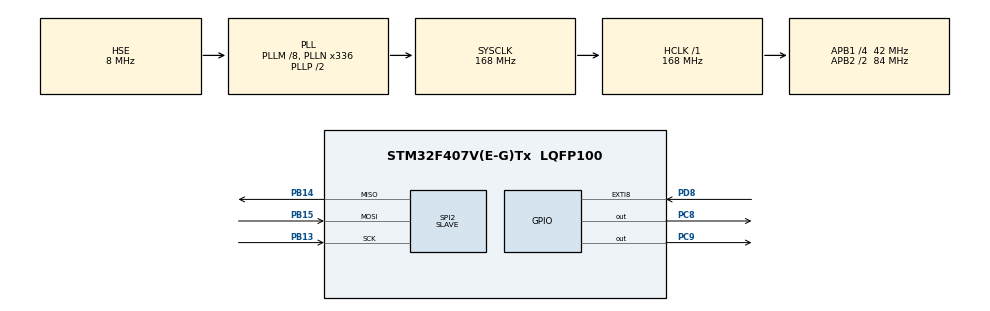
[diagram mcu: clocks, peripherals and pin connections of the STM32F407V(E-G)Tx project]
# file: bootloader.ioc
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Dma.Request0=SPI2_RX
Dma.Request1=SPI2_TX
Dma.SPI2_RX.0.Direction=DMA_PERIPH_TO_MEMORY
Dma.SPI2_RX.0.FIFOMode=DMA_FIFOMODE_DISABLE
Dma.SPI2_RX.0.Instance=DMA1_Stream3
Dma.SPI2_RX.0.MemDataAlignment=DMA_MDATAALIGN_BYTE
Dma.SPI2_RX.0.MemInc=DMA_MINC_ENABLE
Dma.SPI2_RX.0.Mode=DMA_NORMAL
Dma.SPI2_RX.0.PeriphDataAlignment=DMA_PDATAALIGN_BYTE
Dma.SPI2_RX.0.PeriphInc=DMA_PINC_DISABLE
Dma.SPI2_RX.0.Priority=DMA_PRIORITY_LOW
Dma.SPI2_TX.1.Direction=DMA_MEMORY_TO_PERIPH
Dma.SPI2_TX.1.FIFOMode=DMA_FIFOMODE_DISABLE
Dma.SPI2_TX.1.Instance=DMA1_Stream4
Dma.SPI2_TX.1.MemDataAlignment=DMA_MDATAALIGN_BYTE
Dma.SPI2_TX.1.MemInc=DMA_MINC_ENABLE
Dma.SPI2_TX.1.Mode=DMA_NORMAL
Dma.SPI2_TX.1.PeriphDataAlignment=DMA_PDATAALIGN_BYTE
Dma.SPI2_TX.1.PeriphInc=DMA_PINC_DISABLE
Dma.SPI2_TX.1.Priority=DMA_PRIORITY_LOW
Mcu.Family=STM32F4
Mcu.Name=STM32F407V(E-G)Tx
Mcu.Package=LQFP100
NVIC.DMA1_Stream3_IRQn=true\:0\:0\:false\:false\:true\:false\:true
NVIC.DMA1_Stream4_IRQn=true\:0\:0\:false\:false\:true\:false\:true
NVIC.EXTI9_5_IRQn=true\:0\:0\:false\:false\:true\:true\:true
NVIC.PriorityGroup=NVIC_PRIORITYGROUP_4
NVIC.SPI2_IRQn=true\:0\:0\:false\:false\:true\:true\:true
PA13.Mode=Serial_Wire
PA13.Signal=SYS_JTMS-SWDIO
PA14.Mode=Serial_Wire
PA14.Signal=SYS_JTCK-SWCLK
PB13.Mode=Full_Duplex_Slave
PB13.Signal=SPI2_SCK
PB14.Mode=Full_Duplex_Slave
PB14.Signal=SPI2_MISO
PB15.Mode=Full_Duplex_Slave
PB15.Signal=SPI2_MOSI
PC8.GPIO_Speed=GPIO_SPEED_FREQ_VERY_HIGH
PC8.Signal=GPIO_Output
PC9.GPIO_Speed=GPIO_SPEED_FREQ_VERY_HIGH
PC9.Signal=GPIO_Output
PD8.GPIO_ModeDefaultEXTI=GPIO_MODE_IT_RISING
PD8.GPIO_PuPd=GPIO_PULLDOWN
PD8.Signal=GPXTI8
PH0-OSC_IN.Mode=HSE-External-Oscillator
PH0-OSC_IN.Signal=RCC_OSC_IN
PH1-OSC_OUT.Mode=HSE-External-Oscillator
PH1-OSC_OUT.Signal=RCC_OSC_OUT
ProjectManager.HeapSize=0x200
ProjectManager.StackSize=0x400
ProjectManager.TargetToolchain=MDK-ARM V5.27
RCC.48MHZClocksFreq_Value=84000000
RCC.AHBFreq_Value=168000000
RCC.APB1CLKDivider=RCC_HCLK_DIV4
RCC.APB1Freq_Value=42000000
RCC.APB1TimFreq_Value=84000000
RCC.APB2CLKDivider=RCC_HCLK_DIV2
RCC.APB2Freq_Value=84000000
RCC.APB2TimFreq_Value=168000000
RCC.CortexFreq_Value=168000000
RCC.HCLKFreq_Value=168000000
RCC.HSE_VALUE=8000000
RCC.HSI_VALUE=16000000
RCC.LSE_VALUE=32768
RCC.PLLM=8
RCC.PLLN=336
RCC.PLLSourceVirtual=RCC_PLLSOURCE_HSE
RCC.SYSCLKFreq_VALUE=168000000
RCC.SYSCLKSource=RCC_SYSCLKSOURCE_PLLCLK
RCC.VCOOutputFreq_Value=336000000
SPI2.Direction=SPI_DIRECTION_2LINES
SPI2.Mode=SPI_MODE_SLAVE
SPI2.VirtualType=VM_SLAVE
board=custom

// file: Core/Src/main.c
/* USER CODE BEGIN Header */
/**
  ******************************************************************************
  * @file           : main.c
  * @brief          : Main program body
  ******************************************************************************
  * @attention
  *
  * <h2><center>&copy; Copyright (c) 2021 STMicroelectronics.
  * All rights reserved.</center></h2>
  *
  * This software component is licensed by ST under BSD 3-Clause license,
  * the "License"; You may not use this file except in compliance with the
  * License. You may obtain a copy of the License at:
  *                        opensource.org/licenses/BSD-3-Clause
  *
  ******************************************************************************
  */
/* USER CODE END Header */
#include "main.h"

/* USER CODE BEGIN Includes */
#include "menu.h"
#include "SEGGER_RTT.h"
#include "drv_flash.h"
/* USER CODE END Includes */

SPI_HandleTypeDef hspi2;
DMA_HandleTypeDef hdma_spi2_rx;
DMA_HandleTypeDef hdma_spi2_tx;

/* USER CODE BEGIN PV */
SPI_HandleTypeDef hspi2;
DMA_HandleTypeDef hdma_spi2_rx;
DMA_HandleTypeDef hdma_spi2_tx;
extern pFunction JumpToApplication;
extern uint32_t JumpAddress;
/* USER CODE END PV */

void SystemClock_Config(void);
static void MX_GPIO_Init(void);
static void MX_DMA_Init(void);
static void MX_SPI2_Init(void);

int main(void)
{

  /* MCU Configuration--------------------------------------------------------*/

  /* Reset of all peripherals, Initializes the Flash interface and the Systick. */
  HAL_Init();

  /* Configure the system clock */
  SystemClock_Config();

  /* Initialize all configured peripherals */
  MX_GPIO_Init();
  MX_DMA_Init();
  MX_SPI2_Init();
  /* USER CODE BEGIN 2 */

  //HAL_Delay(1000);

  /* Test if Key push-button is pressed */
  uint16_t boot_option = *(__IO uint16_t*)( BOOT_OPT_VAR_ADDRESS );
  RTT_printf("the boot option is 0x%04x...........\r\n", boot_option);
  if (boot_option == 0xAABB)
  {
    /* Execute the IAP driver in order to reprogram the Flash */
    Main_Menu ();
  }
  /* Keep the user application running */
  else
  {
	RTT_printf("check the app...........\r\n");
    /* Test if user code is programmed starting from address "APPLICATION_ADDRESS" */
    if (((*(__IO uint32_t*)APPLICATION_ADDRESS) & 0x2FFE0000 ) == 0x20000000)
    {
      /* Jump to user application */
      JumpAddress = *(__IO uint32_t*) (APPLICATION_ADDRESS + 4);
      JumpToApplication = (pFunction) JumpAddress;
      /* Initialize user application's Stack Pointer */
      __set_MSP(*(__IO uint32_t*) APPLICATION_ADDRESS);
      JumpToApplication();
    }else{
		RTT_printf("app can't be used, wait the fw...........\r\n");
		uint16_t BOOT = 0xAABB;
		stm32_flash_erase(BOOT_OPT_VAR_ADDRESS, 2);
		stm32_flash_write(BOOT_OPT_VAR_ADDRESS, (uint8_t*)&BOOT, 2);

		Main_Menu();
	}
  }

  /* USER CODE END 2 */

  /* Infinite loop */
  while (1)
  {

  }
}

void SystemClock_Config(void)
{
  RCC_OscInitTypeDef RCC_OscInitStruct = {0};
  RCC_ClkInitTypeDef RCC_ClkInitStruct = {0};

  /** Configure the main internal regulator output voltage
  */
  __HAL_RCC_PWR_CLK_ENABLE();
  __HAL_PWR_VOLTAGESCALING_CONFIG(PWR_REGULATOR_VOLTAGE_SCALE1);
  /** Initializes the RCC Oscillators according to the specified parameters
  * in the RCC_OscInitTypeDef structure.
  */
  RCC_OscInitStruct.OscillatorType = RCC_OSCILLATORTYPE_HSE;
  RCC_OscInitStruct.HSEState = RCC_HSE_ON;
  RCC_OscInitStruct.PLL.PLLState = RCC_PLL_ON;
  RCC_OscInitStruct.PLL.PLLSource = RCC_PLLSOURCE_HSE;
  RCC_OscInitStruct.PLL.PLLM = 8;
  RCC_OscInitStruct.PLL.PLLN = 336;
  RCC_OscInitStruct.PLL.PLLP = RCC_PLLP_DIV2;
  RCC_OscInitStruct.PLL.PLLQ = 4;
  if (HAL_RCC_OscConfig(&RCC_OscInitStruct) != HAL_OK)
  {
    Error_Handler();
  }
  /** Initializes the CPU, AHB and APB buses clocks
  */
  RCC_ClkInitStruct.ClockType = RCC_CLOCKTYPE_HCLK|RCC_CLOCKTYPE_SYSCLK
                              |RCC_CLOCKTYPE_PCLK1|RCC_CLOCKTYPE_PCLK2;
  RCC_ClkInitStruct.SYSCLKSource = RCC_SYSCLKSOURCE_PLLCLK;
  RCC_ClkInitStruct.AHBCLKDivider = RCC_SYSCLK_DIV1;
  RCC_ClkInitStruct.APB1CLKDivider = RCC_HCLK_DIV4;
  RCC_ClkInitStruct.APB2CLKDivider = RCC_HCLK_DIV2;

  if (HAL_RCC_ClockConfig(&RCC_ClkInitStruct, FLASH_LATENCY_5) != HAL_OK)
  {
    Error_Handler();
  }
}

static void MX_SPI2_Init(void)
{

  /* SPI2 parameter configuration*/
  hspi2.Instance = SPI2;
  hspi2.Init.Mode = SPI_MODE_SLAVE;
  hspi2.Init.Direction = SPI_DIRECTION_2LINES;
  hspi2.Init.DataSize = SPI_DATASIZE_8BIT;
  hspi2.Init.CLKPolarity = SPI_POLARITY_LOW;
  hspi2.Init.CLKPhase = SPI_PHASE_1EDGE;
  hspi2.Init.NSS = SPI_NSS_SOFT;
  hspi2.Init.FirstBit = SPI_FIRSTBIT_MSB;
  hspi2.Init.TIMode = SPI_TIMODE_DISABLE;
  hspi2.Init.CRCCalculation = SPI_CRCCALCULATION_DISABLE;
  hspi2.Init.CRCPolynomial = 10;
  if (HAL_SPI_Init(&hspi2) != HAL_OK)
  {
    Error_Handler();
  }

}

static void MX_DMA_Init(void)
{

  /* DMA controller clock enable */
  __HAL_RCC_DMA1_CLK_ENABLE();

  /* DMA interrupt init */
  /* DMA1_Stream3_IRQn interrupt configuration */
  HAL_NVIC_SetPriority(DMA1_Stream3_IRQn, 0, 0);
  HAL_NVIC_EnableIRQ(DMA1_Stream3_IRQn);
  /* DMA1_Stream4_IRQn interrupt configuration */
  HAL_NVIC_SetPriority(DMA1_Stream4_IRQn, 0, 0);
  HAL_NVIC_EnableIRQ(DMA1_Stream4_IRQn);

}

static void MX_GPIO_Init(void)
{
  GPIO_InitTypeDef GPIO_InitStruct = {0};

  /* GPIO Ports Clock Enable */
  __HAL_RCC_GPIOH_CLK_ENABLE();
  __HAL_RCC_GPIOB_CLK_ENABLE();
  __HAL_RCC_GPIOD_CLK_ENABLE();
  __HAL_RCC_GPIOC_CLK_ENABLE();
  __HAL_RCC_GPIOA_CLK_ENABLE();

  /*Configure GPIO pin Output Level */
  HAL_GPIO_WritePin(GPIOC, GPIO_PIN_8|GPIO_PIN_9, GPIO_PIN_RESET);

  /*Configure GPIO pin : PD8 */
  GPIO_InitStruct.Pin = GPIO_PIN_8;
  GPIO_InitStruct.Mode = GPIO_MODE_IT_RISING;
  GPIO_InitStruct.Pull = GPIO_PULLDOWN;
  HAL_GPIO_Init(GPIOD, &GPIO_InitStruct);

  /*Configure GPIO pins : PC8 PC9 */
  GPIO_InitStruct.Pin = GPIO_PIN_8|GPIO_PIN_9;
  GPIO_InitStruct.Mode = GPIO_MODE_OUTPUT_PP;
  GPIO_InitStruct.Pull = GPIO_NOPULL;
  GPIO_InitStruct.Speed = GPIO_SPEED_FREQ_VERY_HIGH;
  HAL_GPIO_Init(GPIOC, &GPIO_InitStruct);

  /* EXTI interrupt init*/
  HAL_NVIC_SetPriority(EXTI9_5_IRQn, 0, 0);
  HAL_NVIC_EnableIRQ(EXTI9_5_IRQn);

}

/* USER CODE BEGIN 4 */
void HAL_GPIO_EXTI_Callback(uint16_t GPIO_Pin)
{
	NVIC_SystemReset();
}
/* USER CODE END 4 */

void Error_Handler(void)
{
  __disable_irq();
  while (1)
  {
  }
}

/************************ (C) COPYRIGHT STMicroelectronics *****END OF FILE****/
